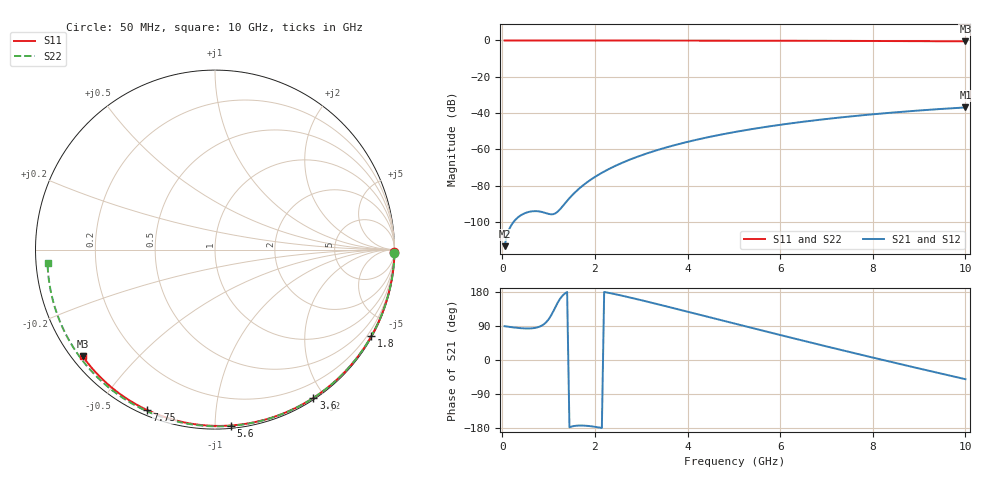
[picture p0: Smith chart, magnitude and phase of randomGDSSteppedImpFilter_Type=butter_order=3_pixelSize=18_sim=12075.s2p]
! freq	dB(S11)	phase(S11)	dB(S12)	phase(S12)
!  dB(S21)	phase(S21)	dB(S22)	phase(S22)
!S-par simulation data
#  GHz  S  DB  R 50
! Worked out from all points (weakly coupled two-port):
!   200 points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, 50 MHz to 10 GHz, reference 50 ohm
!   highest |S21| = -36.90 dB at 10 GHz (marker M1); lowest = -113.3 dB at 50 MHz (marker M2)
!   lowest |S11| = -0.5 dB at 10 GHz (marker M3), VSWR 36.55, Z = 1.54 - j17.6 ohm
!   |S11| at or under -10 dB: nowhere
!   |S22| runs from -0.6 to 0.0 dB; largest |S21 - S12| = 0
!   S11 on the Smith chart (normalised r, x): 50 MHz: open; 1.8 GHz: 0.03, -3.88; 3.6 GHz: 0.02, -1.86; 5.6 GHz: 0.02, -1.09; 7.75 GHz: 0.02, -0.66; 10 GHz: 0.03, -0.35
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0.05  -0.00 -0.8  -113.32 89.1  -113.32 89.1  -0.00 -1.0
0.45  -0.01 -7.3  -95.60 83.6  -95.60 83.6  -0.01 -9.1
0.85  -0.02 -13.8  -94.44 90.6  -94.44 90.6  -0.02 -17.1
1.25  -0.03 -20.2  -92.90 162.0  -92.90 162.0  -0.03 -25.0
1.7  -0.03 -27.3  -80.72 -172.9  -80.72 -172.9  -0.04 -33.7
1.75  -0.04 -28.1  -79.69 -173.1  -79.69 -173.1  -0.04 -34.7
1.8  -0.04 -28.9  -78.70 -173.4  -78.70 -173.4  -0.05 -35.7
2.1  -0.04 -33.6  -73.63 -178.2  -73.63 -178.2  -0.05 -41.4
2.3  -0.05 -36.7  -70.85 177.2  -70.85 177.2  -0.06 -45.2
2.5  -0.05 -39.8  -68.40 172.0  -68.40 172.0  -0.06 -49.0
2.9  -0.06 -45.9  -64.22 160.8  -64.22 160.8  -0.07 -56.5
3.4  -0.07 -53.4  -59.98 145.9  -59.98 145.9  -0.09 -65.7
3.6  -0.08 -56.4  -58.51 139.8  -58.51 139.8  -0.09 -69.3
4.3  -0.09 -66.6  -54.09 118.3  -54.09 118.3  -0.12 -81.6
5.05  -0.12 -77.2  -50.30 95.1  -50.30 95.1  -0.15 -94.5
5.6  -0.14 -84.8  -47.97 78.2  -47.97 78.2  -0.17 -103.6
6.15  -0.16 -92.2  -45.94 61.4  -45.94 61.4  -0.20 -112.6
6.7  -0.19 -99.5  -44.14 44.8  -44.14 44.8  -0.24 -121.5
7.75  -0.26 -113.0  -41.27 13.7  -41.27 13.7  -0.32 -138.3
8.35  -0.31 -120.5  -39.89 -3.8  -39.89 -3.8  -0.38 -147.9
9.2  -0.39 -131.1  -38.21 -28.1  -38.21 -28.1  -0.47 -161.8
10  -0.48 -141.1  -36.90 -50.6  -36.90 -50.6  -0.57 -175.3
